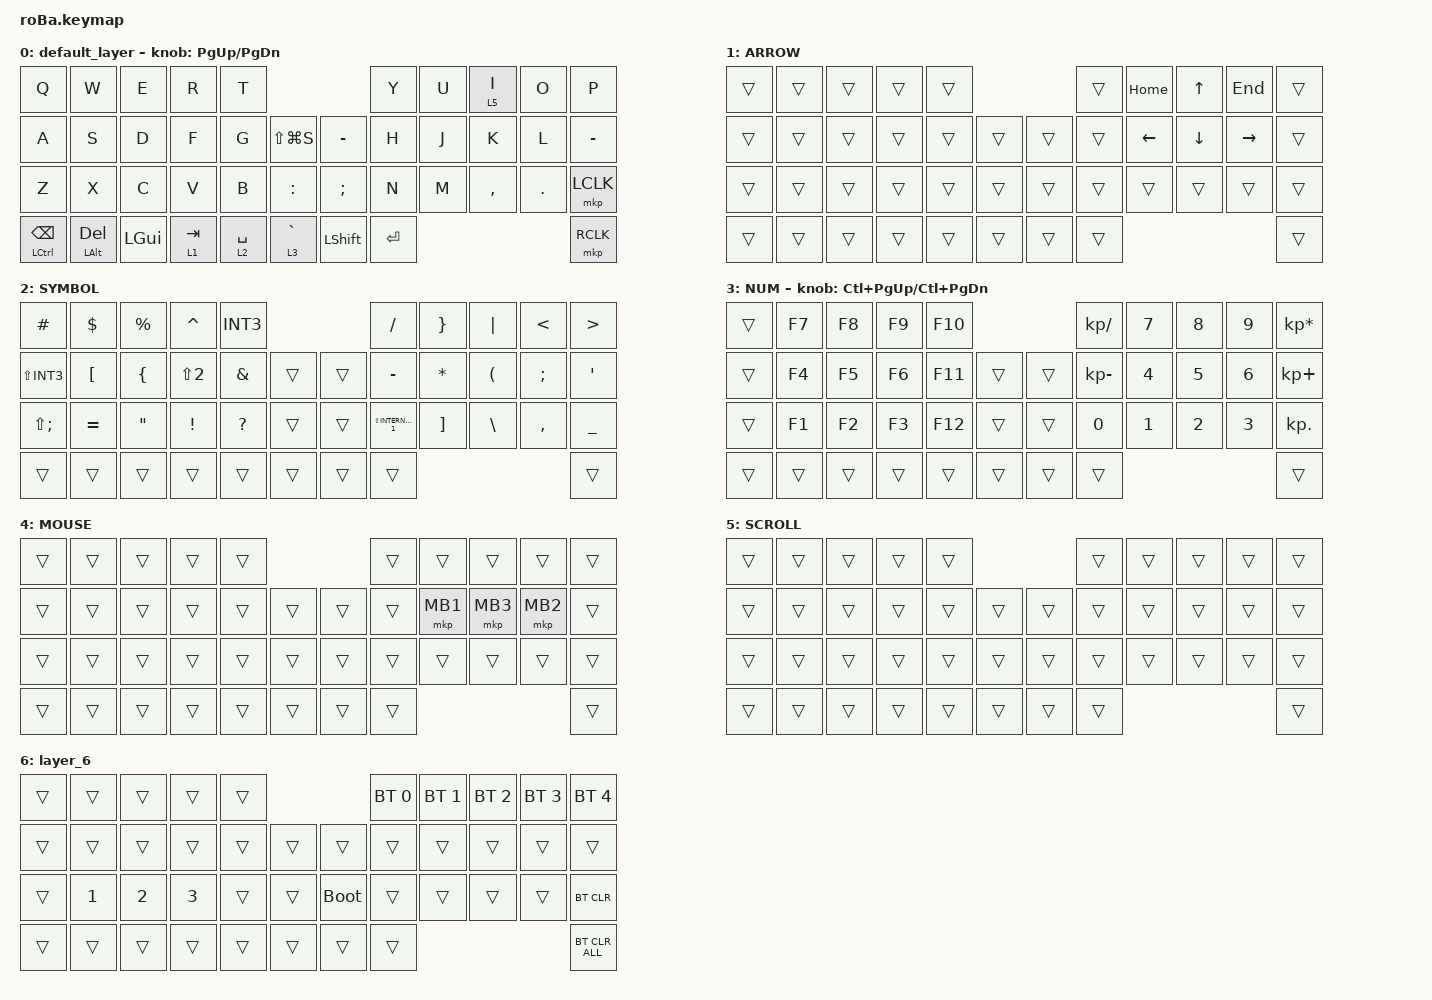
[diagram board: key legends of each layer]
#include <behaviors.dtsi>
#include <dt-bindings/zmk/bt.h>
#include <dt-bindings/zmk/keys.h>
#include <dt-bindings/zmk/pointing.h>

&mt {
    flavor = "balanced";
    quick-tap-ms = <0>;
};

&trackball {
    automouse-layer = <4>;
    scroll-layers = <5>;

    // arrows {
    //     layers = <3>;
    //     bindings =
    //         <&kp RIGHT_ARROW>,
    //         <&kp LEFT_ARROW>,
    //         <&kp UP_ARROW>,
    //         <&kp DOWN_ARROW>;
    //     tick = <10>;
    //     wait-ms = <5>;
    //     tap-ms = <5>;
    // };
};

/ {
    combos {
        compatible = "zmk,combos";

        tab {
            bindings = <&kp TAB>;
            key-positions = <11 12>;
        };

        shift_tab {
            bindings = <&kp LS(TAB)>;
            key-positions = <12 13>;
        };

        muhennkann {
            bindings = <&to_layer_0 INT_MUHENKAN>;
            key-positions = <11 10>;
        };

        double_quotation {
            bindings = <&kp DOUBLE_QUOTES>;
            key-positions = <20 21>;
        };

        eq {
            bindings = <&kp EQUAL>;
            key-positions = <24 25>;
        };
    };

    macros {
        to_layer_0: to_layer_0 {
            compatible = "zmk,behavior-macro-one-param";
            #binding-cells = <1>;
            bindings = <&to 0 &macro_param_1to1 &kp MACRO_PLACEHOLDER>;
            label = "TO_LAYER_0";
        };
    };

    behaviors {
        lt_to_layer_0: lt_to_layer_0 {
            compatible = "zmk,behavior-hold-tap";
            label = "LAYER_TAP_TO_0";
            bindings = <&mo>, <&to_layer_0>;

            #binding-cells = <2>;
            tapping-term-ms = <200>;
        };
    };

    keymap {
        compatible = "zmk,keymap";

        default_layer {
            bindings = <
&kp Q                &kp W                &kp E         &kp R                 &kp T                                                    &kp Y      &kp U  &lt 5 I    &kp O    &kp P
&kp A                &kp S                &kp D         &kp F                 &kp G        &kp LS(LG(S))               &kp MINUS       &kp H      &kp J  &kp K      &kp L    &kp MINUS
&kp Z                &kp X                &kp C         &kp V                 &kp B        &kp COLON                   &kp SEMICOLON   &kp N      &kp M  &kp COMMA  &kp DOT  &mkp LCLK
&mt LCTRL BACKSPACE  &mt LEFT_ALT DELETE  &kp LEFT_GUI  &lt_to_layer_0 1 TAB  &lt 2 SPACE  &lt_to_layer_0 3 GRAVE      &kp LEFT_SHIFT  &kp ENTER                             &mkp RCLK
            >;

            sensor-bindings = <&inc_dec_kp PG_UP PAGE_DOWN>;
        };

        ARROW {
            bindings = <
&trans  &trans  &trans  &trans  &trans                      &trans  &kp HOME        &kp UP_ARROW    &kp END          &trans
&trans  &trans  &trans  &trans  &trans  &trans      &trans  &trans  &kp LEFT_ARROW  &kp DOWN_ARROW  &kp RIGHT_ARROW  &trans
&trans  &trans  &trans  &trans  &trans  &trans      &trans  &trans  &trans          &trans          &trans           &trans
&trans  &trans  &trans  &trans  &trans  &trans      &trans  &trans                                                   &trans
            >;
        };

        SYMBOL {
            bindings = <
&kp HASH      &kp DOLLAR        &kp PERCENT        &kp CARET         &kp INT3                           &kp SLASH                &kp RIGHT_BRACE    &kp PIPE              &kp LESS_THAN  &kp GREATER_THAN
&kp LS(INT3)  &kp LEFT_BRACKET  &kp LEFT_BRACE     &kp LS(NUMBER_2)  &kp AMPERSAND  &trans      &trans  &kp MINUS                &kp STAR           &kp LEFT_PARENTHESIS  &kp SEMI       &kp SQT
&kp LS(SEMI)  &kp EQUAL         &kp DOUBLE_QUOTES  &kp EXCL          &kp QUESTION   &trans      &trans  &kp LS(INTERNATIONAL_1)  &kp RIGHT_BRACKET  &kp BACKSLASH         &kp COMMA      &kp UNDERSCORE
&trans        &trans            &trans             &trans            &trans         &trans      &trans  &trans                                                                           &trans
            >;
        };

        NUM {
            bindings = <
&trans  &kp F7  &kp F8  &kp F9  &kp F10                      &kp KP_SLASH     &kp NUMBER_7  &kp NUMBER_8  &kp NUMBER_9  &kp KP_MULTIPLY
&trans  &kp F4  &kp F5  &kp F6  &kp F11  &trans      &trans  &kp KP_SUBTRACT  &kp NUMBER_4  &kp NUMBER_5  &kp NUMBER_6  &kp KP_PLUS
&trans  &kp F1  &kp F2  &kp F3  &kp F12  &trans      &trans  &kp NUMBER_0     &kp NUMBER_1  &kp NUMBER_2  &kp NUMBER_3  &kp KP_DOT
&trans  &trans  &trans  &trans  &trans   &trans      &trans  &trans                                                     &trans
            >;

            sensor-bindings = <&inc_dec_kp LC(PAGE_UP) LC(PAGE_DOWN)>;
        };

        MOUSE {
            bindings = <
&trans  &trans  &trans  &trans  &trans                      &trans  &trans    &trans    &trans    &trans
&trans  &trans  &trans  &trans  &trans  &trans      &trans  &trans  &mkp MB1  &mkp MB3  &mkp MB2  &trans
&trans  &trans  &trans  &trans  &trans  &trans      &trans  &trans  &trans    &trans    &trans    &trans
&trans  &trans  &trans  &trans  &trans  &trans      &trans  &trans                                &trans
            >;
        };

        SCROLL {
            bindings = <
&trans  &trans  &trans  &trans  &trans                      &trans  &trans  &trans  &trans  &trans
&trans  &trans  &trans  &trans  &trans  &trans      &trans  &trans  &trans  &trans  &trans  &trans
&trans  &trans  &trans  &trans  &trans  &trans      &trans  &trans  &trans  &trans  &trans  &trans
&trans  &trans  &trans  &trans  &trans  &trans      &trans  &trans                          &trans
            >;
        };

        layer_6 {
            bindings = <
&trans  &trans        &trans        &trans        &trans                           &bt BT_SEL 0  &bt BT_SEL 1  &bt BT_SEL 2  &bt BT_SEL 3  &bt BT_SEL 4
&trans  &trans        &trans        &trans        &trans  &trans      &trans       &trans        &trans        &trans        &trans        &trans
&trans  &kp NUMBER_1  &kp NUMBER_2  &kp NUMBER_3  &trans  &trans      &bootloader  &trans        &trans        &trans        &trans        &bt BT_CLR
&trans  &trans        &trans        &trans        &trans  &trans      &trans       &trans                                                  &bt BT_CLR_ALL
            >;
        };
    };
};
